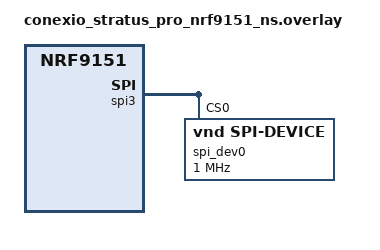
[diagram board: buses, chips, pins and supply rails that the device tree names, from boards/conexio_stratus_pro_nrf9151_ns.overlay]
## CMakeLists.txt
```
# Copyright (c) 2025 Conexio Technologies, Inc
# SPDX-License-Identifier: Apache-2.0

cmake_minimum_required(VERSION 3.20.0)
# Override BOARD_ROOT to always point at this SDK's boards/ directory.
# Using CACHE FORCE ensures this wins over any -DBOARD_ROOT passed by the IDE
# or build system, preventing "board defined multiple times" errors when
# multiple SDK versions are present in the environment.
set(BOARD_ROOT "${CMAKE_CURRENT_SOURCE_DIR}/../../.." CACHE PATH "" FORCE)

find_package(Zephyr HINTS $ENV{ZEPHYR_BASE})
project(spi_read_write)

target_sources(app PRIVATE src/main.c)
```

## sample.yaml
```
# Copyright (c) 2025 Conexio Technologies, Inc
# SPDX-License-Identifier: Apache-2.0
sample:
  name: SPI Direct Read/Write

common:
  tags: spi gpio

tests:
  samples.spi_read_write:
    platform_allow: conexio_stratus_pro_nrf9151_ns
    harness: console
    harness_config:
      type: multi_line
      ordered: true
      regex:
        - "SPI read/write sample"
        - "SPI bus ready"
        - "Loopback.*PASSED"
```

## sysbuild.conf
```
#
# Copyright (c) 2026 Conexio Technologies, Inc
#
# SPDX-License-Identifier: Apache-2.0
#

SB_CONFIG_BOOTLOADER_MCUBOOT=y
```

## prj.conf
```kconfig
#
# Copyright (c) 2026 Conexio Technologies, Inc
#
# SPDX-License-Identifier: Apache-2.0
#

CONFIG_LOG=y
CONFIG_PRINTK=y
CONFIG_GPIO=y
CONFIG_SPI=y

# Enable Zephyr application to be booted by MCUboot
CONFIG_BOOTLOADER_MCUBOOT=y

# TF-M minimal profile (required when not using full TF-M PS/ITS/OTP storage)
CONFIG_TFM_PROFILE_TYPE_MINIMAL=y
```

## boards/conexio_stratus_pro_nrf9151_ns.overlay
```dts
/*
 * Copyright (c) 2025 Conexio Technologies, Inc
 *
 * SPDX-License-Identifier: Apache-2.0
 */

/*
 * Enable the SPI3 bus on the Stratus header connector.
 *
 * Pin mapping (nRF9151 → Stratus header):
 *   SCK  = P0.13  → D19/SCK
 *   MOSI = P0.14  → D20/MISO  (note: header label reflects signal direction
 *   MISO = P0.15  → D21/MOSI   from device perspective)
 *   CS   = P0.17  → D22/CS
 *
 * The CS line is driven by the nRF SPIM hardware via the cs-gpios property.
 * It is asserted low before each transaction and released after (active-low).
 *
 * To connect an external SPI device:
 *   1. Wire it to the D19/D20/D21/D22 pins on the Stratus header.
 *   2. Update `spi_max_frequency` below to match your device's maximum clock.
 *   3. Adjust `spi-cpol`, `spi-cpha` to match your device's SPI mode.
 */


#include <samples/cellular/nrf91_bootloader_partitions.dtsi>
#include <samples/cellular/nrf91_sram_partitions.dtsi>

&spi3 {
	status = "okay";

	/*
	 * Generic SPI device node — represents whatever device is connected
	 * to the header. `reg = <0>` maps to the first CS line (cs-gpios[0]).
	 *
	 * Change `spi_max_frequency`, `spi-cpol`, and `spi-cpha` to match
	 * your target device's datasheet.
	 *
	 * Common SPI modes:
	 *   Mode 0: CPOL=0, CPHA=0  (most sensors, e.g. LIS3DH, BME280)
	 *   Mode 1: CPOL=0, CPHA=1
	 *   Mode 2: CPOL=1, CPHA=0
	 *   Mode 3: CPOL=1, CPHA=1  (some flash chips)
	 */
	spi_dev0: spi-device@0 {
		compatible = "vnd,spi-device";
		reg = <0>;
		spi-max-frequency = <1000000>;  /* 1 MHz — safe default */
	};
};
```

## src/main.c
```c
/*
 * Copyright (c) 2026 Conexio Technologies, Inc.
 * Author: Rajeev Piyare <rajeev@conexiotech.com>
 *
 * SPDX-License-Identifier: Apache-2.0
 *
 * SPI Direct Read/Write sample for Conexio Stratus Pro (nRF9151)
 *
 * This sample demonstrates the core Zephyr SPI API functions using the
 * SPI3 bus exposed on the Stratus header connector.
 *
 * Bus:  SPI3 (nRF SPIM3)
 *   SCK  = P0.13  (D19)
 *   MOSI = P0.14  (D20)
 *   MISO = P0.15  (D21)
 *   CS   = P0.17  (D22) — hardware-controlled, active-low
 *
 * ─────────────────────────────────────────────────────────────────────
 * API summary
 * ─────────────────────────────────────────────────────────────────────
 *
 *  All SPI transfers are built around two structures:
 *
 *    struct spi_buf      { void *buf; size_t len; }
 *    struct spi_buf_set  { const struct spi_buf *buffers; size_t count; }
 *
 *  The TX and RX buffer sets are passed independently, allowing scatter-
 *  gather transfers. Either set can be NULL to indicate a direction-only
 *  transfer (TX-only or RX-only).
 *
 *  Key functions (all return 0 on success, negative errno on error):
 *
 *    spi_write_dt(spec, tx_bufs)
 *      Clocks out the TX buffer(s). MISO is ignored.
 *
 *    spi_read_dt(spec, rx_bufs)
 *      Clocks in the RX buffer(s). MOSI sends dummy bytes (0x00).
 *
 *    spi_transceive_dt(spec, tx_bufs, rx_bufs)
 *      Full-duplex: simultaneously shifts out TX and captures RX.
 *      This is the fundamental SPI operation — the others are wrappers.
 *
 * ─────────────────────────────────────────────────────────────────────
 * Demo structure
 * ─────────────────────────────────────────────────────────────────────
 *
 *  Demo 1 — spi_write_dt:        TX-only transfer (e.g. send a command)
 *  Demo 2 — spi_read_dt:         RX-only transfer (e.g. read a status)
 *  Demo 3 — spi_transceive_dt:   Full-duplex single buffer
 *  Demo 4 — spi_transceive_dt:   Split TX/RX buffers (cmd + response)
 *  Demo 5 — spi_transceive_dt:   Scatter-gather multi-buffer transaction
 *  Demo 6 — loopback self-test:  Connect MOSI→MISO on the header to run
 *                                  a verify-by-value round-trip test
 *
 * ─────────────────────────────────────────────────────────────────────
 * Testing without external hardware
 * ─────────────────────────────────────────────────────────────────────
 *
 *  Demos 1–5 show the correct API usage but cannot verify received data
 *  without a real SPI device connected.
 *
 *  Demo 6 (loopback) requires a single wire bridging D20 (MOSI) to
 *  D21 (MISO) on the Stratus header. This routes the transmitted bytes
 *  back into the receive buffer, making round-trip verification possible
 *  with no external device.
 */

#include <zephyr/kernel.h>
#include <zephyr/device.h>
#include <zephyr/drivers/spi.h>
#include <zephyr/sys/printk.h>
#include <zephyr/logging/log.h>
#include <string.h>

LOG_MODULE_REGISTER(spi_rw, LOG_LEVEL_INF);

/* -----------------------------------------------------------------------
 * SPI device from devicetree
 * The spi_dt_spec bundles the bus device pointer and the per-device
 * spi_config (frequency, mode, CS GPIO) in one struct.
 *
 * SPI_DT_SPEC_GET arguments:
 *   node_id   — DT node of the SPI *device* (child of the SPI controller)
 *   operation — base operation flags (mode bits added by DT CPOL/CPHA props)
 *   delay     — CS assert-to-clock delay in µs (0 = no delay)
 * ----------------------------------------------------------------------- */
#define SPI_DEV_NODE DT_NODELABEL(spi_dev0)

static const struct spi_dt_spec spidev = SPI_DT_SPEC_GET(
	SPI_DEV_NODE,
	SPI_OP_MODE_MASTER | SPI_WORD_SET(8) | SPI_TRANSFER_MSB,
	0
);

/* -----------------------------------------------------------------------
 * Helper: print buffer as hex
 * ----------------------------------------------------------------------- */
static void hex_dump(const char *label, const uint8_t *buf, size_t len)
{
	printk("%s (%zu bytes):", label, len);
	for (size_t i = 0; i < len; i++) {
		printk(" %02X", buf[i]);
	}
	printk("\n");
}

/* -----------------------------------------------------------------------
 * Demo 1: spi_write_dt — TX-only transfer
 *
 * Use case: sending a command or address byte to a device where the
 * MISO response during this phase is irrelevant (e.g. write-enable
 * command to a flash chip, display command byte).
 *
 * The CS line is asserted before the call and released after.
 * ----------------------------------------------------------------------- */
static int demo_write_only(void)
{
	/* Example: send a 3-byte command sequence */
	uint8_t tx_data[] = { 0x06, 0x00, 0xFF };   /* write-enable + addr */

	const struct spi_buf tx_buf = {
		.buf = tx_data,
		.len = sizeof(tx_data),
	};
	const struct spi_buf_set tx = {
		.buffers = &tx_buf,
		.count   = 1,
	};

	int ret = spi_write_dt(&spidev, &tx);

	if (ret) {
		LOG_ERR("spi_write_dt failed (err %d)", ret);
		return ret;
	}

	hex_dump("TX (write-only)", tx_data, sizeof(tx_data));
	LOG_INF("spi_write_dt OK");
	return 0;
}

/* -----------------------------------------------------------------------
 * Demo 2: spi_read_dt — RX-only transfer
 *
 * Use case: reading N bytes from a device after it has been primed
 * (e.g. a second transaction after sending a read command). MOSI
 * shifts out 0x00 dummy bytes while MISO is captured.
 * ----------------------------------------------------------------------- */
static int demo_read_only(void)
{
	uint8_t rx_data[4] = {0};

	const struct spi_buf rx_buf = {
		.buf = rx_data,
		.len = sizeof(rx_data),
	};
	const struct spi_buf_set rx = {
		.buffers = &rx_buf,
		.count   = 1,
	};

	int ret = spi_read_dt(&spidev, &rx);

	if (ret) {
		LOG_ERR("spi_read_dt failed (err %d)", ret);
		return ret;
	}

	hex_dump("RX (read-only)", rx_data, sizeof(rx_data));
	LOG_INF("spi_read_dt OK (data valid only with real device connected)");
	return 0;
}

/* -----------------------------------------------------------------------
 * Demo 3: spi_transceive_dt — full-duplex, single shared buffer
 *
 * Use case: protocols where every byte sent has a corresponding byte
 * received simultaneously (e.g. reading a sensor register on SPI).
 *
 * Here TX and RX share the same buffer length. After the call the
 * rx buffer holds whatever MISO produced during the transaction.
 * ----------------------------------------------------------------------- */
static int demo_transceive_single(void)
{
	/* First byte is typically a command/register address.
	 * Subsequent bytes are dummy (0x00) for the device to fill in.
	 */
	uint8_t tx_data[] = { 0x8F, 0x00, 0x00 };   /* read WHO_AM_I (example) */
	uint8_t rx_data[sizeof(tx_data)] = {0};

	const struct spi_buf tx_buf = { .buf = tx_data, .len = sizeof(tx_data) };
	const struct spi_buf rx_buf = { .buf = rx_data, .len = sizeof(rx_data) };

	const struct spi_buf_set tx = { .buffers = &tx_buf, .count = 1 };
	const struct spi_buf_set rx = { .buffers = &rx_buf, .count = 1 };

	int ret = spi_transceive_dt(&spidev, &tx, &rx);

	if (ret) {
		LOG_ERR("spi_transceive_dt failed (err %d)", ret);
		return ret;
	}

	hex_dump("TX", tx_data, sizeof(tx_data));
	hex_dump("RX", rx_data, sizeof(rx_data));
	LOG_INF("spi_transceive_dt (single buffer) OK");
	return 0;
}

/* -----------------------------------------------------------------------
 * Demo 4: spi_transceive_dt — split command + response buffers
 *
 * Use case: send a command header, then receive a response payload,
 * all in one CS assertion. This is the most common real-world SPI
 * read pattern: [CMD | ADDR] → [DATA0 DATA1 ... DATAn]
 *
 * By using separate TX and RX buffers of different lengths, the
 * first spi_buf in each set can be used for the command phase and the
 * second for the data phase.
 *
 * Important: TX and RX buffer sets are traversed independently. The
 * total bytes clocked on the bus equals max(total_tx, total_rx).
 * Shorter side gets padded with 0x00 (TX) or discarded (RX).
 * ----------------------------------------------------------------------- */
static int demo_transceive_split(void)
{
	/* TX: 1-byte command + 1-byte address, nothing in byte 3+ */
	uint8_t cmd[]  = { 0x03, 0x00 };    /* read command + address */
	uint8_t dummy  = 0x00;

	/* RX: ignore first 2 bytes (during command phase), capture 4 bytes */
	uint8_t rx_ignore[2] = {0};
	uint8_t rx_data[4]   = {0};

	const struct spi_buf tx_bufs[] = {
		{ .buf = cmd,   .len = sizeof(cmd)  },
		{ .buf = &dummy,.len = sizeof(rx_data) }, /* clock out dummy while reading */
	};
	const struct spi_buf rx_bufs[] = {
		{ .buf = rx_ignore, .len = sizeof(rx_ignore) }, /* discard cmd echo */
		{ .buf = rx_data,   .len = sizeof(rx_data)   }, /* capture payload  */
	};

	const struct spi_buf_set tx = { .buffers = tx_bufs, .count = ARRAY_SIZE(tx_bufs) };
	const struct spi_buf_set rx = { .buffers = rx_bufs, .count = ARRAY_SIZE(rx_bufs) };

	int ret = spi_transceive_dt(&spidev, &tx, &rx);

	if (ret) {
		LOG_ERR("spi_transceive_dt split failed (err %d)", ret);
		return ret;
	}

	hex_dump("TX cmd", cmd, sizeof(cmd));
	hex_dump("RX payload", rx_data, sizeof(rx_data));
	LOG_INF("spi_transceive_dt (split cmd/response) OK");
	return 0;
}

/* -----------------------------------------------------------------------
 * Demo 5: spi_transceive_dt — scatter-gather multi-buffer
 *
 * Use case: building a packet from non-contiguous memory regions
 * without copying them into a single flat buffer first.
 * Each spi_buf entry in the set is transmitted/received sequentially
 * within one CS assertion.
 * ----------------------------------------------------------------------- */
static int demo_scatter_gather(void)
{
	uint8_t header[]  = { 0xAA, 0x55 };
	uint8_t payload[] = { 0x01, 0x02, 0x03, 0x04 };
	uint8_t footer[]  = { 0xFF };

	uint8_t rx_buf[sizeof(header) + sizeof(payload) + sizeof(footer)] = {0};

	/* TX: three non-contiguous buffers sent in sequence */
	const struct spi_buf tx_bufs[] = {
		{ .buf = header,  .len = sizeof(header)  },
		{ .buf = payload, .len = sizeof(payload) },
		{ .buf = footer,  .len = sizeof(footer)  },
	};

	/* RX: one flat buffer capturing the full transaction */
	const struct spi_buf rx_buf_set = { .buf = rx_buf, .len = sizeof(rx_buf) };

	const struct spi_buf_set tx = { .buffers = tx_bufs,    .count = ARRAY_SIZE(tx_bufs) };
	const struct spi_buf_set rx = { .buffers = &rx_buf_set,.count = 1 };

	int ret = spi_transceive_dt(&spidev, &tx, &rx);

	if (ret) {
		LOG_ERR("Scatter-gather failed (err %d)", ret);
		return ret;
	}

	LOG_INF("TX: header[%zu] + payload[%zu] + footer[%zu] — scatter-gather",
		sizeof(header), sizeof(payload), sizeof(footer));
	hex_dump("RX", rx_buf, sizeof(rx_buf));
	LOG_INF("spi_transceive_dt (scatter-gather) OK");
	return 0;
}

/* -----------------------------------------------------------------------
 * Demo 6: loopback self-test
 *
 * Requires: bridge D20 (MOSI, P0.14) → D21 (MISO, P0.15) on the
 * Stratus header with a jumper wire.
 *
 * Sends a known pattern and verifies that what is received on MISO
 * exactly matches what was sent on MOSI. This proves the SPI bus,
 * pinctrl, and CS GPIO are all working correctly end-to-end without
 * needing a real device.
 * ----------------------------------------------------------------------- */
static int demo_loopback(void)
{
	const uint8_t tx_pattern[] = {
		0x01, 0x23, 0x45, 0x67, 0x89, 0xAB, 0xCD, 0xEF
	};
	uint8_t rx_pattern[sizeof(tx_pattern)] = {0};

	const struct spi_buf tx_buf = { .buf = (void *)tx_pattern, .len = sizeof(tx_pattern) };
	const struct spi_buf rx_buf = { .buf = rx_pattern,         .len = sizeof(rx_pattern) };

	const struct spi_buf_set tx = { .buffers = &tx_buf, .count = 1 };
	const struct spi_buf_set rx = { .buffers = &rx_buf, .count = 1 };

	int ret = spi_transceive_dt(&spidev, &tx, &rx);

	if (ret) {
		LOG_ERR("Loopback transceive failed (err %d)", ret);
		return ret;
	}

	hex_dump("TX (sent)", tx_pattern, sizeof(tx_pattern));
	hex_dump("RX (received)", rx_pattern, sizeof(rx_pattern));

	if (memcmp(tx_pattern, rx_pattern, sizeof(tx_pattern)) == 0) {
		LOG_INF("Loopback PASSED — TX matches RX");
		return 0;
	}

	LOG_ERR("Loopback FAILED — mismatch (is MOSI bridged to MISO on the header?)");
	for (size_t i = 0; i < sizeof(tx_pattern); i++) {
		if (tx_pattern[i] != rx_pattern[i]) {
			LOG_ERR("  byte[%zu]: sent 0x%02X, got 0x%02X",
				i, tx_pattern[i], rx_pattern[i]);
		}
	}
	return -EIO;
}

/* -----------------------------------------------------------------------
 * main
 * ----------------------------------------------------------------------- */
int main(void)
{
	printk("SPI read/write sample running on %s\n", CONFIG_BOARD);

	if (!spi_is_ready_dt(&spidev)) {
		LOG_ERR("SPI bus not ready");
		return -ENODEV;
	}

	LOG_INF("SPI bus ready");
	LOG_INF("  Bus:  SPI3 (nRF SPIM3)");
	LOG_INF("  SCK   P0.13 (D19)");
	LOG_INF("  MOSI  P0.14 (D20)");
	LOG_INF("  MISO  P0.15 (D21)");
	LOG_INF("  CS    P0.17 (D22) — active-low, hardware-controlled");
	LOG_INF("  Speed %u Hz, Mode 0 (CPOL=0, CPHA=0)", spidev.config.frequency);

	int err;

	/* --- Demo 1: TX-only --- */
	LOG_INF("--- Demo 1: spi_write_dt (TX-only) ---");
	err = demo_write_only();
	if (err) {
		LOG_ERR("Demo 1 failed");
	}

	/* --- Demo 2: RX-only --- */
	LOG_INF("--- Demo 2: spi_read_dt (RX-only) ---");
	err = demo_read_only();
	if (err) {
		LOG_ERR("Demo 2 failed");
	}

	/* --- Demo 3: Full-duplex single buffer --- */
	LOG_INF("--- Demo 3: spi_transceive_dt (full-duplex, single buffer) ---");
	err = demo_transceive_single();
	if (err) {
		LOG_ERR("Demo 3 failed");
	}

	/* --- Demo 4: Split command/response buffers --- */
	LOG_INF("--- Demo 4: spi_transceive_dt (split cmd + response) ---");
	err = demo_transceive_split();
	if (err) {
		LOG_ERR("Demo 4 failed");
	}

	/* --- Demo 5: Scatter-gather --- */
	LOG_INF("--- Demo 5: spi_transceive_dt (scatter-gather) ---");
	err = demo_scatter_gather();
	if (err) {
		LOG_ERR("Demo 5 failed");
	}

	/* --- Demo 6: Loopback self-test --- */
	LOG_INF("--- Demo 6: Loopback self-test (bridge D20→D21 required) ---");
	err = demo_loopback();
	if (err) {
		LOG_WRN("Demo 6: loopback wire not present or bus issue — see above");
	}

	LOG_INF("SPI sample complete");
	return 0;
}
```
